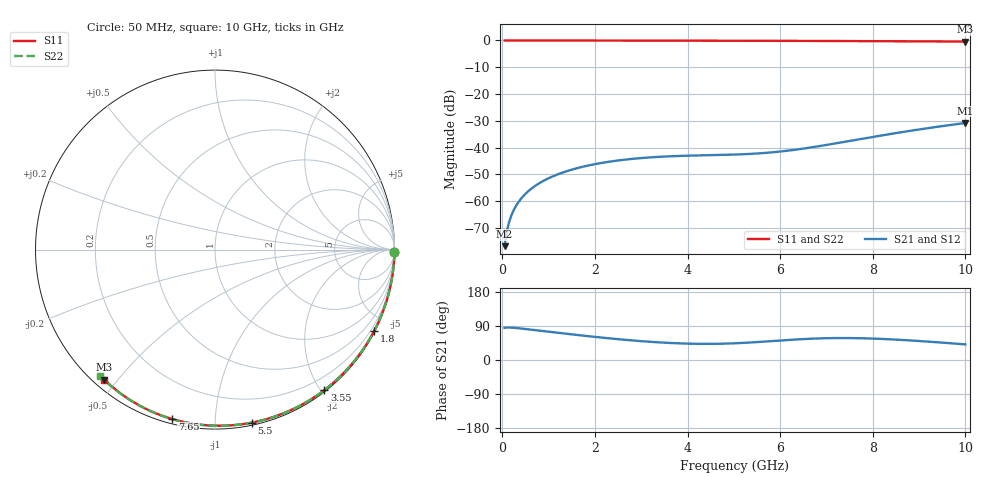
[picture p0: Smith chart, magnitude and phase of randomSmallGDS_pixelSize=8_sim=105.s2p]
! freq	dB(S11)	phase(S11)	dB(S12)	phase(S12)
!  dB(S21)	phase(S21)	dB(S22)	phase(S22)
!S-par simulation data
#  GHz  S  DB  R 50
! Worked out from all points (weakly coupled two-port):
!   200 points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, 50 MHz to 10 GHz, reference 50 ohm
!   highest |S21| = -30.79 dB at 10 GHz (marker M1); lowest = -76.8 dB at 50 MHz (marker M2)
!   lowest |S11| = -0.4 dB at 10 GHz (marker M3), VSWR 40.12, Z = 1.51 - j23.1 ohm
!   |S11| at or under -10 dB: nowhere
!   |S22| runs from -0.4 to 0.0 dB; largest |S21 - S12| = 0
!   S11 on the Smith chart (normalised r, x): 50 MHz: open; 1.8 GHz: 0.04, -4.15; 3.55 GHz: 0.02, -2.04; 5.5 GHz: 0.02, -1.23; 7.65 GHz: 0.02, -0.78; 10 GHz: 0.03, -0.46
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0.05  -0.00 -0.8  -76.77 84.7  -76.77 84.7  -0.00 -0.8
0.1  -0.00 -1.5  -71.04 85.6  -71.04 85.6  -0.00 -1.6
0.15  -0.00 -2.3  -67.59 85.7  -67.59 85.7  -0.00 -2.3
0.2  -0.00 -3.1  -65.12 85.4  -65.12 85.4  -0.00 -3.1
0.25  -0.00 -3.8  -63.20 85.0  -63.20 85.0  -0.00 -3.9
0.35  -0.00 -5.4  -60.30 83.8  -60.30 83.8  -0.00 -5.4
0.5  -0.01 -7.6  -57.24 81.8  -57.24 81.8  -0.01 -7.7
0.7  -0.01 -10.7  -54.38 79.0  -54.38 79.0  -0.01 -10.8
1  -0.02 -15.2  -51.42 74.7  -51.42 74.7  -0.02 -15.4
1.35  -0.03 -20.4  -49.02 69.7  -49.02 69.7  -0.03 -20.7
1.75  -0.03 -26.3  -47.08 64.2  -47.08 64.2  -0.03 -26.7
1.8  -0.03 -27.1  -46.88 63.6  -46.88 63.6  -0.04 -27.5
2.5  -0.05 -37.3  -44.79 54.9  -44.79 54.9  -0.05 -37.9
3.4  -0.07 -50.1  -43.42 46.4  -43.42 46.4  -0.07 -50.8
3.55  -0.07 -52.2  -43.28 45.4  -43.28 45.4  -0.07 -52.9
4.3  -0.09 -62.4  -42.88 42.6  -42.88 42.6  -0.09 -63.3
5.05  -0.11 -72.3  -42.56 44.3  -42.56 44.3  -0.11 -73.4
5.5  -0.13 -78.1  -42.19 47.3  -42.19 47.3  -0.13 -79.2
6.7  -0.18 -92.9  -39.84 56.4  -39.84 56.4  -0.18 -94.3
7.65  -0.23 -104.1  -37.05 57.7  -37.05 57.7  -0.24 -105.6
8.35  -0.28 -112.2  -34.99 54.7  -34.99 54.7  -0.29 -113.8
10  -0.43 -130.4  -30.79 41.2  -30.79 41.2  -0.44 -132.4
